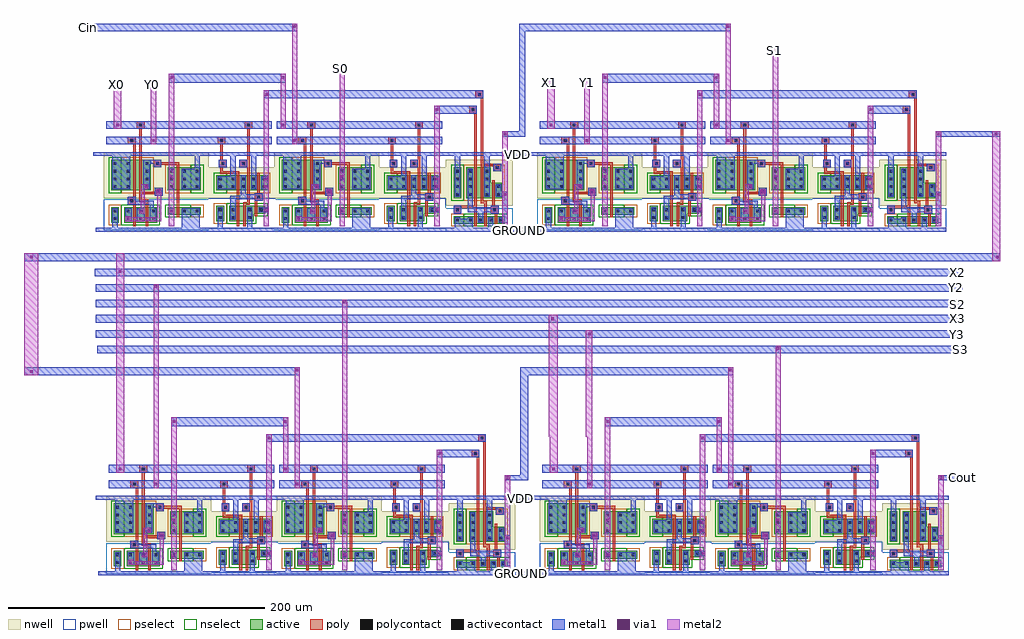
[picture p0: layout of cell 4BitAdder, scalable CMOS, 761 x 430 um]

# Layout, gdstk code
import gdstk
lib = gdstk.Library(unit=1e-6, precision=1e-09)
def R(c, l, rs):  # rectangles x0, y0, x1, y1
    for r in rs: c.add(gdstk.rectangle(r[:2], r[2:], *l))
def A(c, l, x, y, w, h, nx, ny, dx, dy):  # array of equal rectangles
    R(c, l, [(x+i*dx, y+j*dy, x+i*dx+w, y+j*dy+h) for i in range(nx) for j in range(ny)])
def P(c, l, *ps):  # polygons
    for p in ps: c.add(gdstk.Polygon(p, *l))
pwell = (41, 0)
nwell = (42, 0)
active = (43, 0)
pselect = (44, 0)
nselect = (45, 0)
poly = (46, 0)
polycontact = (47, 0)
activecontact = (48, 0)
metal1 = (49, 0)
via1 = (50, 0)
metal2 = (51, 0)

c_or = lib.new_cell('OR')
R(c_or, pwell, [(-67,8,-15,26)])
R(c_or, nwell, [(-67,28,-15,64)])
R(c_or, active, [(-61,14,-21,20), (-61,34,-55,58)])
P(c_or, active, [(-51,34),(-23,34),(-23,46),(-32,46),(-32,58),(-51,58)])
R(c_or, pselect, [(-63,12,-53,22), (-53,32,-21,60)])
R(c_or, nselect, [(-53,12,-19,22), (-63,32,-53,60)])
P(c_or, poly, [(-32,22),(-29,22),(-29,12),(-27,12),(-27,22),(-26,22),(-26,28),(-29,28),(-29,48),(-31,48),(-31,28),(-32,28)],
  [(-40,30),(-37,30),(-37,12),(-35,12),(-35,32),(-38,32),(-38,59),(-30,59),(-30,55),(-24,55),(-24,61),(-38,61),(-38,66),(-40,66)],
  [(-61,22),(-55,22),(-55,26),(-45,26),(-45,12),(-43,12),(-43,66),(-45,66),(-45,28),(-61,28)])
R(c_or, polycontact, [(-59,24,-57,26), (-30,24,-28,26), (-28,57,-26,59)])
A(c_or, activecontact, -49, 16, 2, 2, 4, 1, 8, 0)
A(c_or, activecontact, -59, 36, 2, 2, 1, 4, 0, 6)
A(c_or, activecontact, -49, 36, 2, 2, 1, 4, 0, 6)
A(c_or, activecontact, -36, 36, 2, 2, 1, 4, 0, 6)
R(c_or, activecontact, [(-59,16,-57,18), (-27,36,-25,38), (-27,42,-25,44)])
R(c_or, metal1, [(-61,22,-55,28), (-30,55,-24,61)])
P(c_or, metal1, [(-67,67),(-60,67),(-60,35),(-56,35),(-56,67),(-37,67),(-37,35),(-33,35),(-33,67),(-15,67),(-15,70),(-67,70)],
  [(-67,8),(-15,8),(-15,11),(-30,11),(-30,19),(-34,19),(-34,11),(-46,11),(-46,19),(-50,19),(-50,18),(-56,18),(-56,19),(-60,19),(-60,11),(-67,11)],
  [(-50,23),(-42,23),(-42,15),(-38,15),(-38,23),(-32,23),(-32,22),(-26,22),(-26,28),(-32,28),(-32,27),(-46,27),(-46,57),(-50,57)],
  [(-28,35),(-23,35),(-23,19),(-26,19),(-26,15),(-19,15),(-19,39),(-24,39),(-24,45),(-28,45)])
R(c_or, via1, [(-22,36,-20,38)])
R(c_or, metal2, [(-23,12,-19,66)])
c_or.add(gdstk.Label('OUT', (-21,65), layer=3, texttype=0))
c_or.add(gdstk.Label('OUT', (-21,12), layer=3, texttype=0))
c_or.add(gdstk.Label('B', (-44,12), layer=49, texttype=0))
c_or.add(gdstk.Label('A', (-36,12), layer=49, texttype=0))
c_or.add(gdstk.Label('B', (-44,65), layer=49, texttype=0))
c_or.add(gdstk.Label('A', (-39,65), layer=49, texttype=0))
c_or.add(gdstk.Label('VDD', (-52,68), layer=2, texttype=0))
c_or.add(gdstk.Label('B', (-56,26), layer=2, texttype=0))
c_or.add(gdstk.Label('GROUND', (-42,9), layer=2, texttype=0))
c_or.add(gdstk.Label('A', (-25,58), layer=2, texttype=0))

c_153_xor = lib.new_cell('153_XOR')
R(c_153_xor, pwell, [(-36,-45,46,-21)])
R(c_153_xor, nwell, [(-36,-20,46,16)])
R(c_153_xor, active, [(-30,-39,-24,-27), (-20,-39,6,-27), (14,-33,40,-27), (-30,-14,1,10), (14,-14,40,4)])
R(c_153_xor, pselect, [(-32,-41,-22,-25), (32,-35,42,-25), (-22,-16,3,12), (12,-16,32,6)])
R(c_153_xor, nselect, [(-22,-41,8,-25), (12,-35,32,-25), (-32,-16,-22,12), (32,-16,42,6)])
P(c_153_xor, poly, [(-8,-23),(-3,-23),(-3,-42),(-1,-42),(-1,-21),(-6,-21),(-6,-17),(4,-17),(4,-18),(10,-18),(10,-12),(4,-12),(4,-15),(-6,-15),(-6,12),(-8,12)],
  [(3,4),(9,4),(9,6),(21,6),(21,-35),(23,-35),(23,8),(9,8),(9,10),(3,10)],
  [(-17,-25),(-13,-25),(-13,-42),(-11,-42),(-11,12),(-13,12),(-13,-19),(-17,-19)])
R(c_153_xor, polycontact, [(-15,-23,-13,-21), (6,-16,8,-14), (5,6,7,8)])
A(c_153_xor, activecontact, -28, -37, 2, 2, 4, 2, 10, 6)
A(c_153_xor, activecontact, 16, -31, 2, 2, 3, 2, 10, 19)
A(c_153_xor, activecontact, -28, -12, 2, 2, 1, 4, 0, 6)
A(c_153_xor, activecontact, -18, -12, 2, 2, 1, 4, 0, 6)
A(c_153_xor, activecontact, -3, -12, 2, 2, 1, 4, 0, 6)
A(c_153_xor, activecontact, 16, -6, 2, 2, 3, 2, 10, 6)
R(c_153_xor, metal1, [(-19,-38,-14,-28), (-10,-38,-4,-28), (15,-32,19,-28), (4,-18,10,-12), (15,-13,19,3)])
P(c_153_xor, metal1, [(-36,13),(-29,13),(-29,-13),(-15,-13),(-15,13),(35,13),(35,3),(25,3),(25,-13),(39,-13),(39,13),(46,13),(46,16),(-36,16)],
  [(-17,-25),(0,-25),(0,-38),(5,-38),(5,-28),(3,-28),(3,-22),(-11,-22),(-11,-19),(-17,-19)],
  [(-36,-46),(46,-46),(46,-43),(39,-43),(39,-28),(25,-28),(25,-43),(-25,-43),(-25,-28),(-29,-28),(-29,-43),(-36,-43)],
  [(-5,-13),(0,-13),(0,7),(3,7),(3,4),(9,4),(9,10),(-5,10)])
R(c_153_xor, via1, [(-18,-37,-16,-35), (-7,-31,-5,-29), (16,-31,18,-29), (6,-16,8,-14), (-4,-12,-2,-10), (16,-4,18,-2)])
R(c_153_xor, metal2, [(15,-42,19,12)])
P(c_153_xor, metal2, [(-19,-38),(9,-38),(9,-13),(5,-13),(5,-17),(6,-17),(6,-35),(-15,-35),(-15,-34),(-19,-34)],
  [(-8,-32),(-4,-32),(-4,-13),(-1,-13),(-1,-9),(-7,-9),(-7,-28),(-8,-28)])
c_153_xor.add(gdstk.Label('B', (7,-23), layer=3, texttype=0))
c_153_xor.add(gdstk.Label('XOR', (17,-41), layer=3, texttype=0))
c_153_xor.add(gdstk.Label('XOR', (17,10), layer=42, texttype=0))
c_153_xor.add(gdstk.Label('VDD', (4,14), layer=2, texttype=0))
c_153_xor.add(gdstk.Label('GROUND', (3,-45), layer=2, texttype=0))
c_153_xor.add(gdstk.Label('A', (-10,-24), layer=2, texttype=0))
c_153_xor.add(gdstk.Label('A', (-13,-42), layer=49, texttype=0))
c_153_xor.add(gdstk.Label('B', (-3,-42), layer=49, texttype=0))
c_153_xor.add(gdstk.Label('A', (-13,11), layer=49, texttype=0))
c_153_xor.add(gdstk.Label('B', (-8,11), layer=49, texttype=0))

and_ = lib.new_cell('AND')
R(and_, pwell, [(-56,-17,-4,7)])
R(and_, nwell, [(-56,7,-4,31)])
R(and_, active, [(-50,-11,-44,1), (-50,13,-10,25)])
P(and_, active, [(-40,-11),(-21,-11),(-21,-5),(-12,-5),(-12,1),(-40,1)])
R(and_, pselect, [(-52,-13,-42,3), (-42,11,-8,27)])
R(and_, nselect, [(-52,11,-42,27)])
P(and_, nselect, [(-42,-13),(-19,-13),(-19,-7),(-10,-7),(-10,3),(-42,3)])
P(and_, poly, [(-20,-7),(-18,-7),(-18,5),(-14,5),(-14,11),(-16,11),(-16,27),(-18,27),(-18,11),(-20,11)],
  [(-48,31),(-47,31),(-47,26),(-34,26),(-34,-15),(-32,-15),(-32,28),(-45,28),(-45,31),(-42,31),(-42,37),(-45,37),(-45,39),(-47,39),(-47,37),(-48,37)],
  [(-32,31),(-26,31),(-26,4),(-29,4),(-29,-15),(-27,-15),(-27,2),(-24,2),(-24,39),(-26,39),(-26,37),(-32,37)])
R(and_, polycontact, [(-18,7,-16,9), (-46,33,-44,35), (-30,33,-28,35)])
A(and_, activecontact, -38, 15, 2, 2, 4, 2, 8, 6)
R(and_, activecontact, [(-48,-9,-46,-7), (-38,-9,-36,-7), (-25,-9,-23,-7), (-48,-3,-46,-1), (-38,-3,-36,-1), (-25,-3,-23,-1), (-16,-3,-14,-1), (-48,15,-46,17), (-48,21,-46,23)])
R(and_, metal1, [(-17,-4,-9,0), (-15,14,-9,24), (-48,31,-42,37), (-32,31,-26,37)])
P(and_, metal1, [(-56,40),(-39,40),(-39,24),(-49,24),(-49,14),(-35,14),(-35,40),(-23,40),(-23,14),(-19,14),(-19,40),(-4,40),(-4,43),(-56,43)],
  [(-56,-19),(-4,-19),(-4,-16),(-22,-16),(-22,0),(-26,0),(-26,-16),(-45,-16),(-45,0),(-49,0),(-49,-16),(-56,-16)],
  [(-39,-10),(-35,-10),(-35,6),(-20,6),(-20,5),(-14,5),(-14,11),(-20,11),(-20,10),(-27,10),(-27,25),(-31,25),(-31,9),(-39,9)])
R(and_, via1, [(-12,-3,-10,-1), (-12,15,-10,17), (-12,21,-10,23)])
R(and_, metal2, [(-13,-15,-9,39)])
and_.add(gdstk.Label('B', (-28,-13), layer=46, texttype=0))
and_.add(gdstk.Label('OUT', (-12,-13), layer=46, texttype=0))
and_.add(gdstk.Label('A', (-34,-13), layer=46, texttype=0))
and_.add(gdstk.Label('VDD', (-37,41), layer=2, texttype=0))
and_.add(gdstk.Label('A', (-43,35), layer=2, texttype=0))
and_.add(gdstk.Label('B', (-27,35), layer=2, texttype=0))
and_.add(gdstk.Label('GROUND', (-40,-19), layer=2, texttype=0))
and_.add(gdstk.Label('OUT', (-12,34), layer=3, texttype=0))

halfadder = lib.new_cell('HalfAdder')
R(halfadder, poly, [(-2,13,0,24), (-6,24,0,30)])
P(halfadder, poly, [(1,36),(3,36),(3,13),(5,13),(5,36),(7,36),(7,42),(1,42)],
  [(64,24),(66,24),(66,13),(68,13),(68,24),(70,24),(70,30),(64,30)],
  [(85,36),(87,36),(87,13),(89,13),(89,36),(91,36),(91,42),(85,42)])
R(halfadder, polycontact, [(-4,26,-2,28), (66,26,68,28), (3,38,5,40), (87,38,89,40)])
R(halfadder, metal1, [(53,-44,61,-41), (54,15,60,18), (-23,24,106,30), (-23,36,106,42)])
R(halfadder, metal2, [(100,10,104,48), (26,12,30,50)])
halfadder.add(gdstk.Reference(c_153_xor, (11,2)))
halfadder.add(gdstk.Reference(and_, (113,-25)))
halfadder.add(gdstk.Label('S', (28,48), layer=3, texttype=0))
halfadder.add(gdstk.Label('C', (102,46), layer=3, texttype=0))
halfadder.add(gdstk.Label('X', (-21,39), layer=2, texttype=0))
halfadder.add(gdstk.Label('GROUND', (55,-43), layer=2, texttype=0))
halfadder.add(gdstk.Label('VDD', (56,16), layer=2, texttype=0))
halfadder.add(gdstk.Label('Y', (-21,27), layer=2, texttype=0))

fulladder = lib.new_cell('FullAdder')
P(fulladder, poly, [(144,42),(148,42),(148,-6),(150,-6),(150,48),(144,48)],
  [(139,30),(143,30),(143,-5),(145,-5),(145,36),(139,36)])
R(fulladder, polycontact, [(141,32,143,34), (146,44,148,46)])
R(fulladder, metal1, [(-152,-62,-144,-59), (-154,-3,-146,0), (165,12,183,16), (112,30,145,36), (-21,42,150,48), (-95,54,-4,61), (-155,94,5,100)])
R(fulladder, via1, [(-108,8,-106,10), (2,8,4,10), (166,13,168,15), (-136,20,-134,22), (-7,20,-5,22), (113,32,115,34), (-20,44,-18,46), (-94,57,-92,59), (-7,57,-5,59), (2,97,4,99)])
R(fulladder, metal2, [(165,-5,169,16), (-109,6,-105,51), (1,6,5,100), (-138,18,-132,51), (-8,18,-4,61), (-21,27,-17,48), (112,28,116,36), (-95,30,-91,61), (38,30,42,62)])
fulladder.add(gdstk.Reference(c_or, (188,-70)))
fulladder.add(gdstk.Reference(halfadder, (12,-18)))
fulladder.add(gdstk.Reference(halfadder, (-121,-18)))
fulladder.add(gdstk.Label('Cin', (-154,97), layer=2, texttype=0))
fulladder.add(gdstk.Label('Cout', (177,14), layer=2, texttype=0))
fulladder.add(gdstk.Label('VDD', (-151,-2), layer=2, texttype=0))
fulladder.add(gdstk.Label('GROUND', (-150,-61), layer=2, texttype=0))
fulladder.add(gdstk.Label('Xin', (-136,47), layer=3, texttype=0))
fulladder.add(gdstk.Label('Yin', (-108,49), layer=3, texttype=0))
fulladder.add(gdstk.Label('Sout', (39,59), layer=3, texttype=0))

c_4bitadder = lib.new_cell('4BitAdder')
A(c_4bitadder, metal1, -171, -57, 676, 6, 1, 4, 0, 12)
R(c_4bitadder, metal1, [(156,-242,169,-239), (156,-183,167,-180), (160,-168,166,-80), (502,-168,508,-164), (-227,-86,-164,-80), (-170,-69,506,-63), (-172,-9,504,-3), (-227,3,534,9), (154,26,167,29), (154,85,165,88), (159,100,164,188), (500,100,534,104), (-178,182,-174,188)])
R(c_4bitadder, via1, [(-222,-84,-220,-82), (360,-66,362,-64), (213,-55,215,-53), (184,-43,186,-41), (22,-30,24,-28), (-125,-18,-123,-16), (-153,-6,-151,-4), (-222,5,-220,7), (531,5,533,7), (530,101,532,103)])
R(c_4bitadder, metal2, [(-155,-134,-149,9), (182,-134,189,-39), (211,-134,216,-51), (-126,-129,-122,-15), (21,-123,25,-27), (359,-121,363,-63), (-227,-86,-216,9), (528,3,534,104), (181,135,187,145), (210,135,214,145), (-157,137,-151,143), (-128,137,-124,143), (357,145,361,169), (19,148,23,155)])
c_4bitadder.add(gdstk.Reference(fulladder, (-19,88)))
c_4bitadder.add(gdstk.Reference(fulladder, (319,88)))
c_4bitadder.add(gdstk.Reference(fulladder, (-17,-180)))
c_4bitadder.add(gdstk.Reference(fulladder, (321,-180)))
c_4bitadder.add(gdstk.Label('S1', (358,167), layer=3, texttype=0))
c_4bitadder.add(gdstk.Label('X0', (-155,141), layer=3, texttype=0))
c_4bitadder.add(gdstk.Label('Y0', (-127,141), layer=3, texttype=0))
c_4bitadder.add(gdstk.Label('X1', (183,142), layer=3, texttype=0))
c_4bitadder.add(gdstk.Label('Y1', (212,142), layer=3, texttype=0))
c_4bitadder.add(gdstk.Label('S0', (20,153), layer=3, texttype=0))
c_4bitadder.add(gdstk.Label('Cin', (-177,185), layer=2, texttype=0))
c_4bitadder.add(gdstk.Label('GROUND', (161,-241), layer=2, texttype=0))
c_4bitadder.add(gdstk.Label('VDD', (160,-182), layer=2, texttype=0))
c_4bitadder.add(gdstk.Label('GROUND', (159,27), layer=2, texttype=0))
c_4bitadder.add(gdstk.Label('X2', (501,-6), layer=2, texttype=0))
c_4bitadder.add(gdstk.Label('Y2', (500,-18), layer=2, texttype=0))
c_4bitadder.add(gdstk.Label('VDD', (158,86), layer=2, texttype=0))
c_4bitadder.add(gdstk.Label('S3', (503,-66), layer=2, texttype=0))
c_4bitadder.add(gdstk.Label('Y3', (501,-54), layer=2, texttype=0))
c_4bitadder.add(gdstk.Label('X3', (501,-42), layer=2, texttype=0))
c_4bitadder.add(gdstk.Label('S2', (501,-31), layer=2, texttype=0))
c_4bitadder.add(gdstk.Label('Cout', (505,-166), layer=2, texttype=0))

lib.write_gds('4BitAdder.gds')
